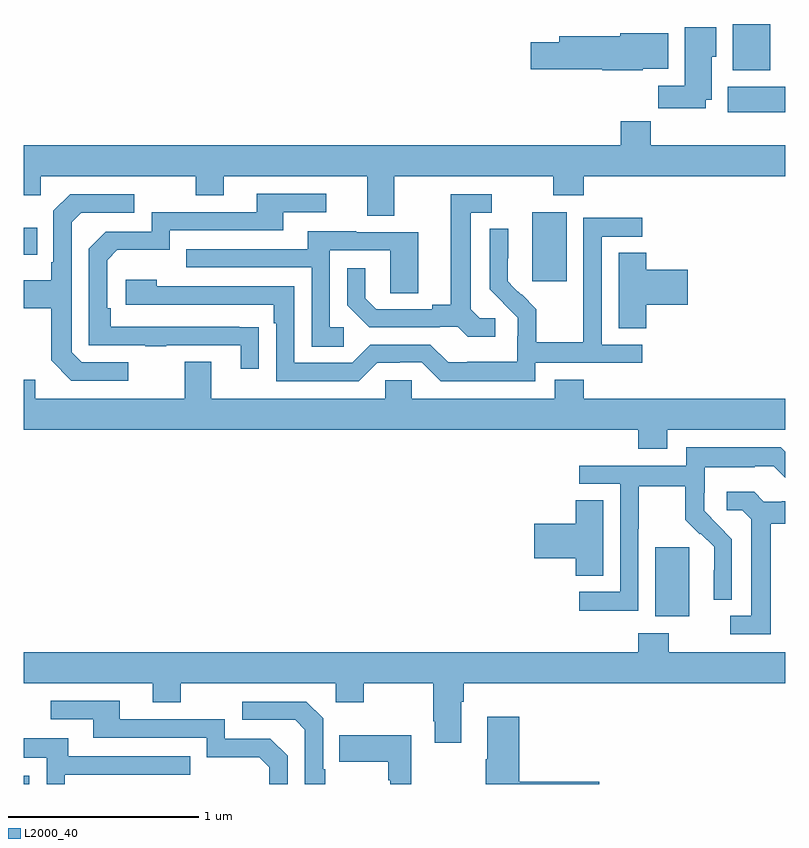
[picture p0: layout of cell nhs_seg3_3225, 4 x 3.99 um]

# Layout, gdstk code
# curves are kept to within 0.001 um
import gdstk
lib = gdstk.Library(unit=1e-6, precision=1e-09)
def R(c, l, rs):  # rectangles x0, y0, x1, y1
    for r in rs: c.add(gdstk.rectangle(r[:2], r[2:], *l))
def P(c, l, *ps):  # polygons
    for p in ps: c.add(gdstk.Polygon(p, *l))
L2000_40 = (2000, 40)

nhs_seg3_3225 = lib.new_cell('nhs_seg3_3225')
R(nhs_seg3_3225, L2000_40, [(279,688.4,279.03,688.444), (282.317,689.282,282.496,689.643), (281.672,691.041,281.851,691.402), (279,691.181,279.071,691.321), (282.698,691.928,283,692.062), (282.725,692.15,282.922,692.392)])
P(nhs_seg3_3225, L2000_40, [(282.583,691.994),(282.613,691.994),(282.613,692.22),(282.637,692.22),(282.637,692.374),(282.473,692.374),(282.473,692.068),(282.334,692.068),(282.334,691.95),(282.583,691.95)],
  [(282.252,692.156),(282.385,692.156),(282.385,692.344),(282.134,692.344),(282.134,692.327),(281.813,692.327),(281.813,692.297),(281.664,692.297),(281.664,692.155),(282.038,692.155),(282.038,692.15),(282.252,692.15)],
  [(280.945,691.592),(281.782,691.592),(281.782,691.493),(281.942,691.493),(281.942,691.592),(283,691.592),(283,691.756),(282.293,691.756),(282.293,691.88),(282.137,691.88),(282.137,691.756),(279,691.756),(279,691.493),(279.09,691.493),(279.09,691.592),(279.904,691.592),(279.904,691.493),(280.051,691.493),(280.051,691.592),(280.805,691.592),(280.805,691.384),(280.945,691.384)],
  [(280.235,690.8),(279.458,690.801),(279.458,690.898),(279.438,690.898),(279.438,691.152),(279.491,691.205),(279.768,691.205),(279.768,691.308),(280.363,691.308),(280.363,691.404),(280.588,691.404),(280.588,691.5),(280.223,691.5),(280.223,691.404),(279.672,691.404),(279.672,691.302),(279.432,691.302),(279.342,691.212),(279.342,690.705),(279.637,690.705),(279.637,690.7),(279.749,690.7),(279.749,690.705),(280.139,690.705),(280.139,690.582),(280.235,690.582)],
  [(279.55,690.615),(279.306,690.615),(279.252,690.669),(279.252,691.35),(279.303,691.401),(279.58,691.401),(279.58,691.497),(279.243,691.497),(279.156,691.41),(279.156,691.141),(279.144,691.141),(279.144,691.045),(279,691.045),(279,690.898),(279.144,690.898),(279.144,690.625),(279.249,690.519),(279.55,690.519)],
  [(281.476,690.846),(281.394,690.846),(281.347,690.893),(281.347,691.401),(281.458,691.401),(281.458,691.497),(281.243,691.497),(281.243,690.917),(281.147,690.917),(281.147,690.894),(280.852,690.894),(280.795,690.951),(280.795,691.108),(280.698,691.108),(280.698,690.914),(280.814,690.798),(281.186,690.798),(281.186,690.801),(281.28,690.801),(281.332,690.749),(281.476,690.749)],
  [(281.688,690.612),(282.25,690.612),(282.25,690.708),(282.036,690.708),(282.036,691.275),(282.25,691.275),(282.25,691.374),(281.94,691.374),(281.94,690.944),(281.938,690.944),(281.938,690.721),(281.693,690.721),(281.693,690.895),(281.616,690.972),(281.613,690.969),(281.543,691.04),(281.544,691.316),(281.448,691.316),(281.448,690.998),(281.594,690.85),(281.594,690.753),(281.592,690.753),(281.592,690.619),(281.329,690.619),(281.329,690.615),(281.229,690.615),(281.136,690.708),(280.821,690.708),(280.725,690.612),(280.422,690.612),(280.422,691.014),(279.698,691.014),(279.698,691.048),(279.537,691.048),(279.537,690.918),(280.313,690.918),(280.313,690.821),(280.326,690.821),(280.326,690.516),(280.761,690.516),(280.857,690.612),(280.976,690.612),(280.976,690.615),(281.091,690.615),(281.191,690.515),(281.688,690.515)],
  [(280.681,690.798),(280.608,690.798),(280.608,691.203),(280.926,691.203),(280.926,690.979),(281.071,690.979),(281.071,691.299),(280.747,691.299),(280.747,691.303),(280.493,691.303),(280.493,691.209),(279.853,691.209),(279.853,691.113),(280.512,691.113),(280.512,690.697),(280.681,690.697)],
  [(282.269,690.917),(282.487,690.917),(282.487,691.1),(282.269,691.1),(282.269,691.19),(282.125,691.19),(282.125,690.793),(282.269,690.793)],
  [(282.227,690.161),(282.379,690.161),(282.379,690.26),(283,690.26),(283,690.424),(281.942,690.424),(281.942,690.523),(281.789,690.523),(281.789,690.424),(281.037,690.424),(281.037,690.522),(280.899,690.522),(280.899,690.424),(279.985,690.424),(279.985,690.619),(279.845,690.619),(279.845,690.424),(279.061,690.424),(279.061,690.523),(279,690.523),(279,690.26),(282.227,690.26)],
  [(282.228,689.74),(282.231,689.74),(282.231,689.964),(282.475,689.964),(282.475,689.789),(282.552,689.712),(282.555,689.715),(282.626,689.645),(282.626,689.522),(282.624,689.522),(282.624,689.368),(282.72,689.368),(282.72,689.686),(282.574,689.834),(282.574,689.931),(282.576,689.931),(282.576,690.065),(282.839,690.065),(282.839,690.069),(282.939,690.069),(283,690.008),(283,690.146),(282.977,690.169),(282.48,690.169),(282.48,690.072),(281.919,690.072),(281.919,689.976),(282.132,689.976),(282.132,689.409),(281.919,689.409),(281.919,689.311),(282.228,689.311)],
  [(282.925,689.768),(283,689.768),(283,689.886),(282.982,689.886),(282.982,689.883),(282.888,689.883),(282.836,689.935),(282.693,689.935),(282.693,689.838),(282.774,689.838),(282.821,689.791),(282.821,689.283),(282.711,689.283),(282.711,689.187),(282.925,689.187)],
  [(282.043,689.891),(281.9,689.891),(281.9,689.768),(281.682,689.768),(281.682,689.585),(281.9,689.585),(281.9,689.494),(282.043,689.494)],
  [(281.299,688.832),(281.312,688.832),(281.312,688.928),(283,688.928),(283,689.092),(282.387,689.092),(282.387,689.191),(282.227,689.191),(282.227,689.092),(279,689.092),(279,688.928),(279.677,688.928),(279.677,688.829),(279.825,688.829),(279.825,688.928),(280.638,688.928),(280.638,688.829),(280.785,688.829),(280.785,688.928),(281.152,688.928),(281.152,688.729),(281.159,688.729),(281.159,688.617),(281.299,688.617)],
  [(280.386,688.548),(280.296,688.638),(280.056,688.638),(280.056,688.74),(279.505,688.74),(279.505,688.836),(279.141,688.836),(279.141,688.74),(279.365,688.74),(279.365,688.644),(279.96,688.644),(279.96,688.541),(280.237,688.541),(280.29,688.488),(280.29,688.4),(280.386,688.4)],
  [(280.585,688.477),(280.572,688.477),(280.572,688.746),(280.485,688.833),(280.149,688.833),(280.149,688.737),(280.425,688.737),(280.476,688.686),(280.476,688.4),(280.585,688.4)],
  [(282.022,688.412),(281.603,688.412),(281.603,688.753),(281.435,688.753),(281.435,688.529),(281.428,688.529),(281.428,688.4),(282.022,688.4)],
  [(281.035,688.657),(280.657,688.657),(280.657,688.517),(280.914,688.517),(280.914,688.421),(280.926,688.421),(280.926,688.4),(281.035,688.4)],
  [(279.216,688.449),(279.875,688.449),(279.875,688.545),(279.235,688.545),(279.235,688.639),(279,688.639),(279,688.539),(279.12,688.539),(279.12,688.4),(279.216,688.4)])

lib.write_gds('nhs_seg3_3225.gds')
